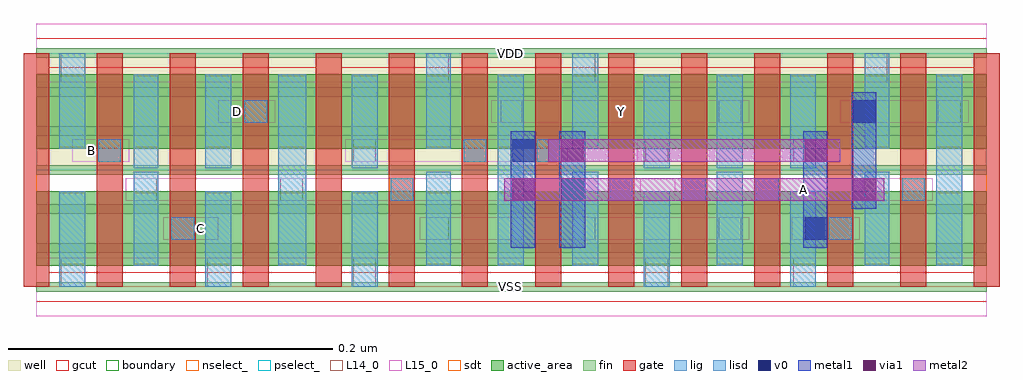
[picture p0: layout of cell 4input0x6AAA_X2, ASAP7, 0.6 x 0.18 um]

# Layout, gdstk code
import gdstk
lib = gdstk.Library(unit=1e-6, precision=1e-09)
def R(c, l, rs):  # rectangles x0, y0, x1, y1
    for r in rs: c.add(gdstk.rectangle(r[:2], r[2:], *l))
def A(c, l, x, y, w, h, nx, ny, dx, dy):  # array of equal rectangles
    R(c, l, [(x+i*dx, y+j*dy, x+i*dx+w, y+j*dy+h) for i in range(nx) for j in range(ny)])
def P(c, l, *ps):  # polygons
    for p in ps: c.add(gdstk.Polygon(p, *l))
well = (1, 0)
fin = (2, 0)
gate = (7, 0)
gcut = (10, 0)
active_area = (11, 0)
nselect_ = (12, 0)
pselect_ = (13, 0)
L14_0 = (14, 0)
L15_0 = (15, 0)
lig = (16, 0)
lisd = (17, 0)
v0 = (18, 0)
metal1 = (19, 0)
metal2 = (20, 0)
via1 = (21, 0)
sdt = (88, 0)
boundary = (100, 0)

c_4input0x6aaa_x2 = lib.new_cell('4input0x6AAA_X2')
R(c_4input0x6aaa_x2, well, [(0,0.072,0.585,0.144)])
A(c_4input0x6aaa_x2, fin, 0, -0.003, 0.585, 0.006, 1, 7, 0, 0.024)
A(c_4input0x6aaa_x2, gate, -0.008, 0, 0.016, 0.144, 14, 1, 0.045, 0)
P(c_4input0x6aaa_x2, gcut, [(0,-0.009),(0,0),(-0.008,0),(-0.008,0.135),(0.008,0.135),(0.008,0.009),(0.172,0.009),(0.172,0.135),(0.188,0.135),(0.188,0.009),(0.577,0.009),(0.577,0.135),(-0.008,0.135),(-0.008,0.144),(0,0.144),(0,0.153),(0.585,0.153),(0.585,0.144),(0.593,0.144),(0.593,0),(0.585,0),(0.585,-0.009)])
R(c_4input0x6aaa_x2, active_area, [(0,0.013,0.585,0.059), (0,0.085,0.585,0.131)])
R(c_4input0x6aaa_x2, nselect_, [(0,0,0.585,0.072)])
R(c_4input0x6aaa_x2, pselect_, [(0,0.072,0.585,0.144)])
A(c_4input0x6aaa_x2, L14_0, 0.24, 0.029, 0.014, 0.014, 3, 1, 0.09, 0)
A(c_4input0x6aaa_x2, L14_0, 0.353, 0.053, 0.014, 0.014, 3, 1, 0.045, 0)
R(c_4input0x6aaa_x2, L14_0, [(0.015,0,0.03,0.018), (0.105,0,0.12,0.018), (0.195,0,0.209,0.018), (0.375,0,0.389,0.018), (0.466,0,0.48,0.018), (0.083,0.029,0.097,0.043), (0.488,0.029,0.502,0.043), (0.06,0.053,0.074,0.067), (0.15,0.053,0.164,0.067), (0.218,0.053,0.232,0.067), (0.533,0.053,0.547,0.067), (0.038,0.077,0.052,0.091), (0.195,0.077,0.209,0.091), (0.263,0.077,0.277,0.091), (0.308,0.077,0.322,0.091), (0.375,0.077,0.389,0.091), (0.466,0.077,0.48,0.091), (0.128,0.101,0.142,0.115), (0.286,0.101,0.299,0.115), (0.42,0.101,0.434,0.115), (0.555,0.101,0.569,0.115), (0.015,0.126,0.03,0.144), (0.24,0.126,0.254,0.144), (0.33,0.126,0.344,0.144), (0.51,0.126,0.524,0.144)])
R(c_4input0x6aaa_x2, L15_0, [(0,-0.018,0.585,0.018), (0.078,0.029,0.112,0.043), (0.236,0.029,0.439,0.043), (0.465,0.029,0.507,0.043), (0.055,0.053,0.372,0.067), (0.393,0.053,0.552,0.067), (0.022,0.077,0.057,0.091), (0.19,0.077,0.327,0.091), (0.37,0.077,0.484,0.091), (0.112,0.101,0.147,0.115), (0.28,0.101,0.439,0.115), (0.495,0.101,0.574,0.115), (0,0.126,0.585,0.162)])
A(c_4input0x6aaa_x2, lig, 0.353, 0.053, 0.014, 0.014, 3, 1, 0.045, 0)
R(c_4input0x6aaa_x2, lig, [(0.083,0.029,0.097,0.043), (0.488,0.029,0.502,0.043), (0.218,0.053,0.232,0.067), (0.533,0.053,0.547,0.067), (0.038,0.077,0.052,0.091), (0.263,0.077,0.277,0.091), (0.308,0.077,0.322,0.091), (0.128,0.101,0.142,0.115)])
A(c_4input0x6aaa_x2, lisd, 0.014, 0, 0.016, 0.059, 3, 1, 0.09, 0)
A(c_4input0x6aaa_x2, lisd, 0.374, 0.073, 0.016, 0.058, 3, 1, 0.045, 0)
R(c_4input0x6aaa_x2, lisd, [(0.374,0,0.39,0.059), (0.464,0,0.48,0.059), (0.06,0.013,0.075,0.071), (0.149,0.013,0.166,0.131), (0.24,0.013,0.255,0.071), (0.284,0.013,0.3,0.131), (0.33,0.013,0.346,0.071), (0.419,0.013,0.435,0.071), (0.51,0.013,0.525,0.071), (0.554,0.013,0.57,0.131), (0.06,0.073,0.075,0.131), (0.104,0.073,0.12,0.131), (0.194,0.073,0.21,0.131), (0.014,0.085,0.03,0.144), (0.24,0.085,0.255,0.144), (0.33,0.085,0.346,0.144), (0.51,0.085,0.525,0.144)])
R(c_4input0x6aaa_x2, v0, [(0.473,0.029,0.487,0.043), (0.323,0.053,0.337,0.067), (0.293,0.077,0.307,0.091), (0.503,0.101,0.517,0.115)])
R(c_4input0x6aaa_x2, metal1, [(0.292,0.024,0.307,0.096), (0.322,0.024,0.338,0.096), (0.472,0.024,0.487,0.096), (0.502,0.048,0.517,0.12)])
R(c_4input0x6aaa_x2, metal2, [(0.288,0.053,0.522,0.067), (0.315,0.077,0.495,0.091)])
R(c_4input0x6aaa_x2, via1, [(0.293,0.053,0.307,0.067), (0.503,0.053,0.517,0.067), (0.323,0.077,0.337,0.091), (0.473,0.077,0.487,0.091)])
A(c_4input0x6aaa_x2, sdt, 0.014, 0.014, 0.016, 0.044, 4, 2, 0.09, 0.072)
A(c_4input0x6aaa_x2, sdt, 0.374, 0.014, 0.016, 0.044, 3, 2, 0.045, 0.072)
R(c_4input0x6aaa_x2, sdt, [(0.06,0.014,0.075,0.058), (0.149,0.014,0.166,0.058), (0.24,0.014,0.255,0.058), (0.33,0.014,0.346,0.058), (0.51,0.014,0.525,0.058), (0.554,0.014,0.57,0.058), (0.06,0.086,0.075,0.13), (0.149,0.086,0.166,0.13), (0.24,0.086,0.255,0.13), (0.33,0.086,0.346,0.13), (0.51,0.086,0.525,0.13), (0.554,0.086,0.57,0.13)])
R(c_4input0x6aaa_x2, boundary, [(0,0,0.585,0.144)])
c_4input0x6aaa_x2.add(gdstk.Label('Y', (0.36,0.108), layer=15, texttype=251))
c_4input0x6aaa_x2.add(gdstk.Label('VSS', (0.292,0), layer=15, texttype=251))
c_4input0x6aaa_x2.add(gdstk.Label('VDD', (0.292,0.144), layer=15, texttype=251))
c_4input0x6aaa_x2.add(gdstk.Label('B', (0.034,0.084), layer=15, texttype=251))
c_4input0x6aaa_x2.add(gdstk.Label('VSS', (0.292,0), layer=15, texttype=251))
c_4input0x6aaa_x2.add(gdstk.Label('VDD', (0.292,0.144), layer=15, texttype=251))
c_4input0x6aaa_x2.add(gdstk.Label('A', (0.472,0.06), layer=15, texttype=251))
c_4input0x6aaa_x2.add(gdstk.Label('VSS', (0.292,0), layer=15, texttype=251))
c_4input0x6aaa_x2.add(gdstk.Label('VDD', (0.292,0.144), layer=15, texttype=251))
c_4input0x6aaa_x2.add(gdstk.Label('C', (0.101,0.036), layer=15, texttype=251))
c_4input0x6aaa_x2.add(gdstk.Label('VSS', (0.292,0), layer=15, texttype=251))
c_4input0x6aaa_x2.add(gdstk.Label('VDD', (0.292,0.144), layer=15, texttype=251))
c_4input0x6aaa_x2.add(gdstk.Label('D', (0.124,0.108), layer=15, texttype=251))
c_4input0x6aaa_x2.add(gdstk.Label('VSS', (0.292,0), layer=15, texttype=251))
c_4input0x6aaa_x2.add(gdstk.Label('VDD', (0.292,0.144), layer=15, texttype=251))
c_4input0x6aaa_x2.add(gdstk.Label('VSS', (0.292,0), layer=3, texttype=251))
c_4input0x6aaa_x2.add(gdstk.Label('VSS', (0.292,0), layer=3, texttype=251))
c_4input0x6aaa_x2.add(gdstk.Label('VSS', (0.292,0), layer=3, texttype=251))
c_4input0x6aaa_x2.add(gdstk.Label('VSS', (0.292,0), layer=3, texttype=251))
c_4input0x6aaa_x2.add(gdstk.Label('VSS', (0.292,0), layer=3, texttype=251))
c_4input0x6aaa_x2.add(gdstk.Label('VDD', (0.292,0.144), layer=1, texttype=251))
c_4input0x6aaa_x2.add(gdstk.Label('VDD', (0.292,0.144), layer=1, texttype=251))
c_4input0x6aaa_x2.add(gdstk.Label('VDD', (0.292,0.144), layer=1, texttype=251))
c_4input0x6aaa_x2.add(gdstk.Label('VDD', (0.292,0.144), layer=1, texttype=251))
c_4input0x6aaa_x2.add(gdstk.Label('VDD', (0.292,0.144), layer=1, texttype=251))

lib.write_gds('4input0x6AAA_X2.gds')
